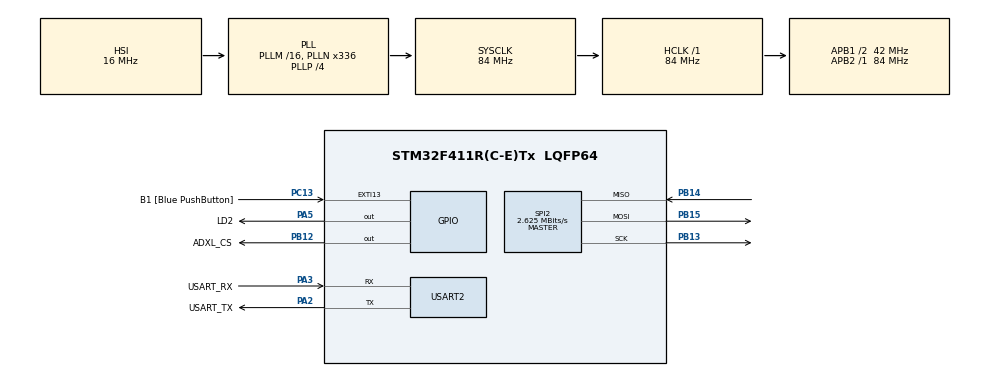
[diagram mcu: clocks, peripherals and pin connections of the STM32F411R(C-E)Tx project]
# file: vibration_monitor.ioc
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Mcu.Family=STM32F4
Mcu.Name=STM32F411R(C-E)Tx
Mcu.Package=LQFP64
NVIC.PriorityGroup=NVIC_PRIORITYGROUP_0
NVIC.TIM2_IRQn=true\:0\:0\:false\:false\:true\:true\:true\:true
PA13.GPIO_Label=TMS
PA13.Mode=Serial_Wire
PA13.Signal=SYS_JTMS-SWDIO
PA14.GPIO_Label=TCK
PA14.Mode=Serial_Wire
PA14.Signal=SYS_JTCK-SWCLK
PA2.GPIO_Label=USART_TX
PA2.Mode=Asynchronous
PA2.Signal=USART2_TX
PA3.GPIO_Label=USART_RX
PA3.Mode=Asynchronous
PA3.Signal=USART2_RX
PA5.GPIO_Label=LD2
PA5.Signal=GPIO_Output
PB12.GPIO_Label=ADXL_CS
PB12.PinState=GPIO_PIN_SET
PB12.Signal=GPIO_Output
PB13.Mode=Full_Duplex_Master
PB13.Signal=SPI2_SCK
PB14.Mode=Full_Duplex_Master
PB14.Signal=SPI2_MISO
PB15.Mode=Full_Duplex_Master
PB15.Signal=SPI2_MOSI
PB3.GPIO_Label=SWO
PB3.Signal=SYS_JTDO-SWO
PC13-ANTI_TAMP.GPIO_Label=B1 [Blue PushButton]
PC13-ANTI_TAMP.GPIO_ModeDefaultEXTI=GPIO_MODE_IT_FALLING
PC13-ANTI_TAMP.Signal=GPXTI13
PC14-OSC32_IN.Mode=LSE-External-Oscillator
PC14-OSC32_IN.Signal=RCC_OSC32_IN
PC15-OSC32_OUT.Mode=LSE-External-Oscillator
PC15-OSC32_OUT.Signal=RCC_OSC32_OUT
PH0\ -\ OSC_IN.Mode=HSE-External-Clock-Source
PH0\ -\ OSC_IN.Signal=RCC_OSC_IN
PH1\ -\ OSC_OUT.Mode=HSE-External-Clock-Source
PH1\ -\ OSC_OUT.Signal=RCC_OSC_OUT
ProjectManager.HeapSize=0x200
ProjectManager.StackSize=0x400
ProjectManager.TargetToolchain=CMake
RCC.48MHZClocksFreq_Value=84000000
RCC.AHBFreq_Value=84000000
RCC.APB1CLKDivider=RCC_HCLK_DIV2
RCC.APB1Freq_Value=42000000
RCC.APB1TimFreq_Value=84000000
RCC.APB2Freq_Value=84000000
RCC.APB2TimFreq_Value=84000000
RCC.CortexFreq_Value=84000000
RCC.FLatency-AdvancedSettings=FLASH_LATENCY_2
RCC.HCLKFreq_Value=84000000
RCC.HSE_VALUE=8000000
RCC.HSI_VALUE=16000000
RCC.PLLN=336
RCC.PLLP=RCC_PLLP_DIV4
RCC.SYSCLKFreq_VALUE=84000000
RCC.SYSCLKSource=RCC_SYSCLKSOURCE_PLLCLK
RCC.VCOOutputFreq_Value=336000000
SPI2.BaudRatePrescaler=SPI_BAUDRATEPRESCALER_16
SPI2.CLKPhase=SPI_PHASE_2EDGE
SPI2.CLKPolarity=SPI_POLARITY_HIGH
SPI2.CalculateBaudRate=2.625 MBits/s
SPI2.Direction=SPI_DIRECTION_2LINES
SPI2.Mode=SPI_MODE_MASTER
SPI2.VirtualType=VM_MASTER
TIM2.Period=999
TIM2.Prescaler=83
USART2.VirtualMode=VM_ASYNC
VP_TIM2_VS_ClockSourceINT.Mode=Internal
board=NUCLEO-F411RE

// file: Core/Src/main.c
/* USER CODE BEGIN Header */
/**
  ******************************************************************************
  * @file           : main.c
  * @brief          : Main program body
  ******************************************************************************
  * @attention
  *
  * Copyright (c) 2026 STMicroelectronics.
  * All rights reserved.
  *
  * This software is licensed under terms that can be found in the LICENSE file
  * in the root directory of this software component.
  * If no LICENSE file comes with this software, it is provided AS-IS.
  *
  ******************************************************************************
  */
/* USER CODE END Header */
#include "main.h"
#include "spi.h"
#include "tim.h"
#include "usart.h"
#include "gpio.h"

/* USER CODE BEGIN Includes */
#include <stdio.h>
#include <math.h>
#include "adxl345.h"
#include "arm_math.h"
/* USER CODE END Includes */

/* USER CODE BEGIN PD */
#define N_SAMPLES 1024
#define FS_HZ 1000.0f
/* USER CODE END PD */

/* USER CODE BEGIN PV */
static int16_t samples[2][N_SAMPLES][3];   /* 2 buffers x 1000 samples x (X,Y,Z) */
static volatile uint16_t sample_idx = 0;   /* where the ISR writes next         */
static volatile uint8_t  fill_buf   = 0;   /* which buffer the ISR is filling   */
static volatile int8_t   ready_buf  = -1;  /* full buffer for main (-1 = none)  */
static volatile uint32_t overruns   = 0;   /* main too slow? count it           */

static adxl345_t accel = {
  .hspi    = &hspi2,
  .cs_port = ADXL_CS_GPIO_Port,
  .cs_pin  = ADXL_CS_Pin,
};

static arm_rfft_fast_instance_f32 fft;      /* FFT settings, prepared once */
static float32_t hann[N_SAMPLES];           /* window, computed once       */
static float32_t fft_in[N_SAMPLES];         /* windowed input              */
static float32_t fft_out[N_SAMPLES];        /* complex output              */
static float32_t fft_mag[N_SAMPLES / 2];    /* magnitude per bin           */
/* USER CODE END PV */

void SystemClock_Config(void);

/* USER CODE BEGIN 0 */

/* Send each printf character out of USART2 (to the PC) */
int __io_putchar(int ch)
{
  HAL_UART_Transmit(&huart2, (uint8_t *)&ch, 1, HAL_MAX_DELAY);
  return ch;
}

/* RMS of each axis over one buffer of N_SAMPLES, in milli-g */
static void compute_rms(int16_t (*buf)[3], float rms_mg[3])
{
  for (int axis = 0; axis < 3; axis++)
  {
    float sum = 0.0f;
    for (int i = 0; i < N_SAMPLES; i++) sum += buf[i][axis];
    float mean = sum / N_SAMPLES;                   /* gravity + offset */

    float sum_sq = 0.0f;
    for (int i = 0; i < N_SAMPLES; i++)
    {
      float d = buf[i][axis] - mean;                /* only the wiggle */
      sum_sq += d * d;                              /* square it       */
    }
    rms_mg[axis] = sqrtf(sum_sq / N_SAMPLES) * 3.9f;  /* root of mean, in mg */
  }
}

/* FFT on one axis: biggest peak's frequency (Hz) and amplitude (mg) */
static void find_peak(int16_t (*buf)[3], int axis, float *peak_hz, float *peak_mg)
{
  /* 1. remove the average (gravity + offset) */
  float sum = 0.0f;
  for (int i = 0; i < N_SAMPLES; i++) sum += buf[i][axis];
  float mean = sum / N_SAMPLES;

  /* 2. apply the Hann window (fade the edges) */
  for (int i = 0; i < N_SAMPLES; i++)
    fft_in[i] = (buf[i][axis] - mean) * hann[i];

  /* 3. FFT: time domain -> frequency domain */
  arm_rfft_fast_f32(&fft, fft_in, fft_out, 0);

  /* 4. magnitude of each frequency bin */
  arm_cmplx_mag_f32(fft_out, fft_mag, N_SAMPLES / 2);
  fft_mag[0] = 0.0f;                                /* ignore 0 Hz */

  /* 5. biggest bin, skipping bins 0-1 (below ~2 Hz) */
  float32_t max_val;
  uint32_t  max_idx;
  arm_max_f32(&fft_mag[2], N_SAMPLES / 2 - 2, &max_val, &max_idx);
  max_idx += 2;

  /* 6. bin -> Hz, magnitude -> amplitude in mg */
  *peak_hz = max_idx * FS_HZ / N_SAMPLES;
  *peak_mg = max_val * 2.0f / (N_SAMPLES * 0.5f) * 3.9f;
}

/* USER CODE END 0 */

int main(void)
{

  /* MCU Configuration--------------------------------------------------------*/

  /* Reset of all peripherals, Initializes the Flash interface and the Systick. */
  HAL_Init();

  /* Configure the system clock */
  SystemClock_Config();

  /* Initialize all configured peripherals */
  MX_GPIO_Init();
  MX_USART2_UART_Init();
  MX_SPI2_Init();
  MX_TIM2_Init();

  /* USER CODE BEGIN 2 */

  /* Prepare the FFT and the window once, before sampling starts */
  arm_rfft_fast_init_f32(&fft, N_SAMPLES);
  for (int i = 0; i < N_SAMPLES; i++)
    hann[i] = 0.5f * (1.0f - arm_cos_f32(2.0f * PI * i / (N_SAMPLES - 1)));

  if (adxl345_init(&accel))
  {
    printf("ADXL345 found. Starting...\r\n");
    HAL_TIM_Base_Start_IT(&htim2);
  }
  else
  {
    printf("ADXL345 not found! Check wiring.\r\n");
  }
  /* USER CODE END 2 */

  /* Infinite loop */
  /* USER CODE BEGIN WHILE */
 while (1)
  {
    if (ready_buf != -1)                       /* a full buffer is ready */
    {
      int8_t b = ready_buf;
      float rms[3], peak_hz, peak_mg;

      compute_rms(samples[b], rms);
      find_peak(samples[b], 0, &peak_hz, &peak_mg);   /* axis 0 = X */
      ready_buf = -1;                          /* buffer free again */

      int hz10 = (int)(peak_hz * 10.0f);       /* one decimal without %f */
      printf("RMS X=%3d Y=%3d Z=%3d mg | X peak: %d.%d Hz (%d RPM), %d mg\r\n",
             (int)rms[0], (int)rms[1], (int)rms[2],
             hz10 / 10, hz10 % 10, (int)(peak_hz * 60.0f), (int)peak_mg);

      HAL_GPIO_TogglePin(LD2_GPIO_Port, LD2_Pin);
    }
    /* USER CODE END WHILE */
    /* USER CODE END WHILE */

  }
}

void SystemClock_Config(void)
{
  RCC_OscInitTypeDef RCC_OscInitStruct = {0};
  RCC_ClkInitTypeDef RCC_ClkInitStruct = {0};

  /** Configure the main internal regulator output voltage
  */
  __HAL_RCC_PWR_CLK_ENABLE();
  __HAL_PWR_VOLTAGESCALING_CONFIG(PWR_REGULATOR_VOLTAGE_SCALE1);

  /** Initializes the RCC Oscillators according to the specified parameters
  * in the RCC_OscInitTypeDef structure.
  */
  RCC_OscInitStruct.OscillatorType = RCC_OSCILLATORTYPE_HSI;
  RCC_OscInitStruct.HSIState = RCC_HSI_ON;
  RCC_OscInitStruct.HSICalibrationValue = RCC_HSICALIBRATION_DEFAULT;
  RCC_OscInitStruct.PLL.PLLState = RCC_PLL_ON;
  RCC_OscInitStruct.PLL.PLLSource = RCC_PLLSOURCE_HSI;
  RCC_OscInitStruct.PLL.PLLM = 16;
  RCC_OscInitStruct.PLL.PLLN = 336;
  RCC_OscInitStruct.PLL.PLLP = RCC_PLLP_DIV4;
  RCC_OscInitStruct.PLL.PLLQ = 4;
  if (HAL_RCC_OscConfig(&RCC_OscInitStruct) != HAL_OK)
  {
    Error_Handler();
  }

  /** Initializes the CPU, AHB and APB buses clocks
  */
  RCC_ClkInitStruct.ClockType = RCC_CLOCKTYPE_HCLK|RCC_CLOCKTYPE_SYSCLK
                              |RCC_CLOCKTYPE_PCLK1|RCC_CLOCKTYPE_PCLK2;
  RCC_ClkInitStruct.SYSCLKSource = RCC_SYSCLKSOURCE_PLLCLK;
  RCC_ClkInitStruct.AHBCLKDivider = RCC_SYSCLK_DIV1;
  RCC_ClkInitStruct.APB1CLKDivider = RCC_HCLK_DIV2;
  RCC_ClkInitStruct.APB2CLKDivider = RCC_HCLK_DIV1;

  if (HAL_RCC_ClockConfig(&RCC_ClkInitStruct, FLASH_LATENCY_2) != HAL_OK)
  {
    Error_Handler();
  }
}

/* USER CODE BEGIN 4 */
void HAL_TIM_PeriodElapsedCallback(TIM_HandleTypeDef *htim)
{
  if (htim->Instance != TIM2) return;          /* only react to TIM2 */

  int16_t *s = samples[fill_buf][sample_idx];
    adxl345_read_xyz(&accel, &s[0], &s[1], &s[2]);   /* ~30 us of SPI */
  sample_idx++;

  if (sample_idx >= N_SAMPLES)                 /* buffer full? */
  {
    if (ready_buf != -1) overruns++;           /* main didn't finish the last one */
    ready_buf  = fill_buf;                     /* hand this buffer to main */
    fill_buf  ^= 1;                            /* switch: 0 -> 1, 1 -> 0  */
    sample_idx = 0;
  }
}

/* USER CODE END 4 */

void Error_Handler(void)
{
  __disable_irq();
  while (1)
  {
  }
}
